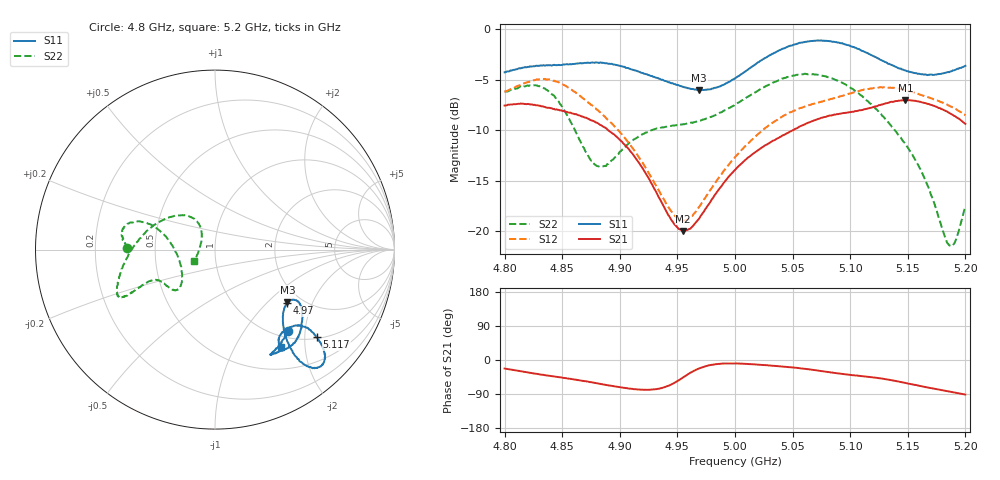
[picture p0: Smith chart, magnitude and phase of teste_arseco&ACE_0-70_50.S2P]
! Network Analyzer HP8722D
! Hewlett-Packard
! Data name: Linha & Wilkinson
! Saver's name: Rodrigo Anjos
! Comments: Teste da utilização de aquisição
! continua pelo VNA HP8722D
! Time and date: 8/5/2025 13:10
!  Frequency  S11  S21  S12  S22
# HZ  S  MA R 50
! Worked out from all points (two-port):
!   401 points, 4.8 GHz to 5.2 GHz, reference 50 ohm
!   highest |S21| = -7.02 dB at 5.148 GHz (marker M1); lowest = -20.0 dB at 4.955 GHz (marker M2)
!   |S21| within 3 dB of the highest: start of sweep to 4.89 GHz; 5.05 GHz to end of sweep
!   lowest |S11| = -6.0 dB at 4.969 GHz (marker M3), VSWR 3.00, Z = 84.7 - j66.5 ohm
!   |S11| at or under -10 dB: nowhere
!   |S22| runs from -21.5 to -4.4 dB; largest |S21 - S12| = 0.95
!   S11 on the Smith chart (normalised r, x): 4.8 GHz: 1.12, -1.63; 4.97 GHz: 1.68, -1.34; 5.117 GHz: 1.03, -2.30; 5.2 GHz: 0.82, -1.57
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4.8e9  0.611 -48.2  0.4185 -22.5  0.4902 -176.7  0.4904 179.0
4.824e9  0.654 -60.0  0.4235 -34.7  0.5557 174.3  0.527 168.8
4.837e9  0.6612 -62.0  0.4084 -41.1  0.5629 166.3  0.4988 162.6
4.851e9  0.6683 -60.1  0.3932 -47.1  0.5302 157.7  0.403 158.8
4.867e9  0.6766 -54.9  0.3697 -54.7  0.4595 149.8  0.2696 167.4
4.886e9  0.6804 -48.6  0.3282 -64.5  0.3731 143.2  0.2099 -157.0
4.908e9  0.6384 -41.0  0.2542 -75.4  0.2723 137.5  0.2732 -134.0
4.934e9  0.5684 -33.1  0.1465 -75.9  0.1588 141.6  0.322 -136.1
4.955e9  0.5182 -32.6  0.1002 -45.9  0.1129 172.3  0.3381 -144.6
4.969e9  0.4995 -36.2  0.1157 -22.1  0.1323 -164.1  0.3522 -150.1
4.97e9  0.5016 -36.5  0.1186 -21.0  0.1347 -162.8  0.3529 -150.2
5e9  0.5708 -48.1  0.2012 -9.3  0.2324 -147.2  0.4229 -154.1
5.039e9  0.7884 -52.6  0.2924 -16.5  0.3637 -148.6  0.5619 -152.7
5.067e9  0.8732 -48.6  0.3504 -25.7  0.4256 -155.2  0.5973 -155.7
5.094e9  0.8468 -43.6  0.3843 -37.1  0.4691 -162.8  0.5392 -166.7
5.117e9  0.7498 -40.6  0.4071 -45.0  0.5075 -173.5  0.4295 173.3
5.134e9  0.6731 -40.4  0.4339 -52.3  0.5133 176.3  0.3403 152.2
5.148e9  0.6245 -42.8  0.4454 -60.6  0.4989 168.3  0.2694 134.9
5.166e9  0.5949 -48.7  0.4292 -71.8  0.4626 160.3  0.1743 122.3
5.186e9  0.6119 -54.7  0.3846 -83.3  0.4181 153.1  0.08512 158.3
5.191e9  0.6282 -55.6  0.3707 -86.1  0.4033 151.7  0.08838 -178.6
5.2e9  0.6578 -55.9  0.3396 -91.2  0.3739 148.6  0.1331 -150.6
